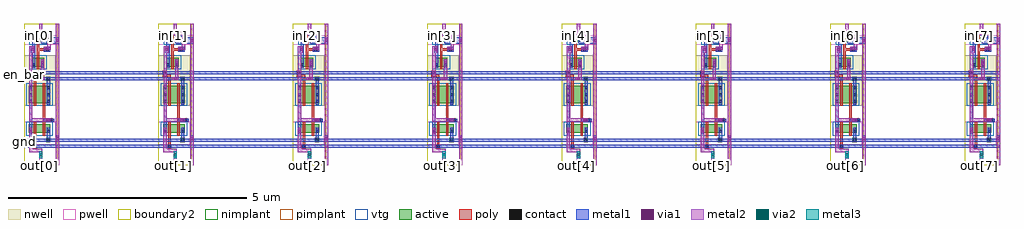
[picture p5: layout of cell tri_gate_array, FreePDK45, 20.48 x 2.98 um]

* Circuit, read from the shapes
.subckt tri_gate_array en en_bar gnd in[0] in[1] in[2] in[3] in[4] in[5] in[6] in[7] out[0] out[1] out[2] out[3] out[4] out[5] out[6] out[7] vdd
M1 n1 en out[0] gnd nfet w=0.18u l=0.05u
M2 gnd in[0] n2 gnd nfet w=0.09u l=0.05u
M3 gnd n2 n1 gnd nfet w=0.18u l=0.05u
M4 n3 en out[1] gnd nfet w=0.18u l=0.05u
M5 gnd in[1] n4 gnd nfet w=0.09u l=0.05u
M6 gnd n4 n3 gnd nfet w=0.18u l=0.05u
M7 n5 en out[2] gnd nfet w=0.18u l=0.05u
M8 gnd in[2] n6 gnd nfet w=0.09u l=0.05u
M9 gnd n6 n5 gnd nfet w=0.18u l=0.05u
M10 n7 en out[3] gnd nfet w=0.18u l=0.05u
M11 gnd in[3] n8 gnd nfet w=0.09u l=0.05u
M12 gnd n8 n7 gnd nfet w=0.18u l=0.05u
M13 n9 en out[4] gnd nfet w=0.18u l=0.05u
M14 gnd in[4] n10 gnd nfet w=0.09u l=0.05u
M15 gnd n10 n9 gnd nfet w=0.18u l=0.05u
M16 n11 en out[5] gnd nfet w=0.18u l=0.05u
M17 gnd in[5] n12 gnd nfet w=0.09u l=0.05u
M18 gnd n12 n11 gnd nfet w=0.18u l=0.05u
M19 n13 en out[6] gnd nfet w=0.18u l=0.05u
M20 gnd in[6] n14 gnd nfet w=0.09u l=0.05u
M21 gnd n14 n13 gnd nfet w=0.18u l=0.05u
M22 n15 en out[7] gnd nfet w=0.18u l=0.05u
M23 gnd in[7] n16 gnd nfet w=0.09u l=0.05u
M24 gnd n16 n15 gnd nfet w=0.18u l=0.05u
M25 n17 en_bar out[0] vdd pfet w=0.36u l=0.05u
M26 vdd in[0] n2 vdd pfet w=0.18u l=0.05u
M27 vdd n2 n17 vdd pfet w=0.36u l=0.05u
M28 n18 en_bar out[1] vdd pfet w=0.36u l=0.05u
M29 vdd in[1] n4 vdd pfet w=0.18u l=0.05u
M30 vdd n4 n18 vdd pfet w=0.36u l=0.05u
M31 n19 en_bar out[2] vdd pfet w=0.36u l=0.05u
M32 vdd in[2] n6 vdd pfet w=0.18u l=0.05u
M33 vdd n6 n19 vdd pfet w=0.36u l=0.05u
M34 n20 en_bar out[3] vdd pfet w=0.36u l=0.05u
M35 vdd in[3] n8 vdd pfet w=0.18u l=0.05u
M36 vdd n8 n20 vdd pfet w=0.36u l=0.05u
M37 n21 en_bar out[4] vdd pfet w=0.36u l=0.05u
M38 vdd in[4] n10 vdd pfet w=0.18u l=0.05u
M39 vdd n10 n21 vdd pfet w=0.36u l=0.05u
M40 n22 en_bar out[5] vdd pfet w=0.36u l=0.05u
M41 vdd in[5] n12 vdd pfet w=0.18u l=0.05u
M42 vdd n12 n22 vdd pfet w=0.36u l=0.05u
M43 n23 en_bar out[6] vdd pfet w=0.36u l=0.05u
M44 vdd in[6] n14 vdd pfet w=0.18u l=0.05u
M45 vdd n14 n23 vdd pfet w=0.36u l=0.05u
M46 n24 en_bar out[7] vdd pfet w=0.36u l=0.05u
M47 vdd in[7] n16 vdd pfet w=0.18u l=0.05u
M48 vdd n16 n24 vdd pfet w=0.36u l=0.05u
.ends

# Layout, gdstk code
import gdstk
lib = gdstk.Library(unit=1e-6, precision=5e-10)
def R(c, l, rs):  # rectangles x0, y0, x1, y1
    for r in rs: c.add(gdstk.rectangle(r[:2], r[2:], *l))
def A(c, l, x, y, w, h, nx, ny, dx, dy):  # array of equal rectangles
    R(c, l, [(x+i*dx, y+j*dy, x+i*dx+w, y+j*dy+h) for i in range(nx) for j in range(ny)])
active = (1, 0)
pwell = (2, 0)
nwell = (3, 0)
nimplant = (4, 0)
pimplant = (5, 0)
vtg = (6, 0)
poly = (9, 0)
contact = (10, 0)
metal1 = (11, 0)
via1 = (12, 0)
metal2 = (13, 0)
via2 = (14, 0)
metal3 = (15, 0)
boundary2 = (239, 0)

m2_m1_0 = lib.new_cell('M2_M1_0')
R(m2_m1_0, metal1, [(-0.0325,-0.0675,0.0325,0.0675)])
R(m2_m1_0, via1, [(-0.0325,-0.0325,0.0325,0.0325)])
R(m2_m1_0, metal2, [(-0.035,-0.0675,0.035,0.0675)])

tri_gate = lib.new_cell('tri_gate')
R(tri_gate, active, [(0.4625,0.485,0.5525,0.575), (0.1025,0.68,0.1775,0.86), (0.1025,0.68,0.1775,0.86), (0.1025,0.68,0.5525,0.86), (0.1025,0.68,0.1775,0.755), (0.255,0.68,0.395,0.86), (0.4775,0.68,0.5525,0.86), (0.4775,0.68,0.5525,0.86), (0.4775,0.68,0.5525,0.755), (0.1025,1.3075,0.1775,1.6675), (0.1025,1.3075,0.1775,1.6675), (0.1025,1.3075,0.5525,1.6675), (0.1025,1.3075,0.1775,1.6625), (0.255,1.3075,0.395,1.6675), (0.4775,1.3075,0.5525,1.6675), (0.4775,1.3075,0.5525,1.6675), (0.4775,1.3075,0.5525,1.6625), (0.4625,1.7725,0.5525,1.8625), (0.165,2.075,0.24,2.255), (0.165,2.075,0.24,2.255), (0.165,2.075,0.24,2.15), (0.165,2.075,0.425,2.255), (0.35,2.075,0.425,2.255), (0.35,2.075,0.425,2.255), (0.35,2.075,0.425,2.15), (0.165,2.59,0.24,2.665), (0.165,2.59,0.24,2.68), (0.165,2.59,0.24,2.68), (0.165,2.59,0.425,2.68), (0.35,2.59,0.425,2.665), (0.35,2.59,0.425,2.68), (0.35,2.59,0.425,2.68), (0.5075,2.59,0.5975,2.68)])
R(tri_gate, pwell, [(0,0.43,0.665,0.915), (0.4075,0.43,0.6075,0.63), (0.0475,0.625,0.6075,0.915), (0,2.535,0.74,2.735), (0.11,2.535,0.48,2.735), (0.4525,2.535,0.6525,2.735)])
R(tri_gate, nwell, [(0,1.2525,0.665,2.31), (0.0475,1.2525,0.6075,1.7225), (0.4075,1.7175,0.6075,1.9175), (0.11,2.02,0.48,2.31)])
R(tri_gate, nimplant, [(0.1025,0.68,0.5525,0.86), (0.4625,1.7725,0.5525,1.8625), (0.165,2.59,0.425,2.68)])
R(tri_gate, pimplant, [(0.4625,0.485,0.5525,0.575), (0.1025,1.3075,0.5525,1.6675), (0.165,2.075,0.425,2.255), (0.5075,2.59,0.5975,2.68)])
R(tri_gate, vtg, [(0.0475,0.625,0.6075,0.915), (0.0475,1.2525,0.6075,1.7225), (0.11,2.02,0.48,2.31), (0.11,2.535,0.48,2.735)])
R(tri_gate, poly, [(0.1925,0.3625,0.2675,0.4375), (0.2075,0.4375,0.2575,0.625), (0.2075,0.625,0.2575,0.68), (0.2075,0.625,0.2575,0.915), (0.3975,0.625,0.4475,0.68), (0.3975,0.625,0.4475,0.915), (0.2075,0.86,0.2575,0.915), (0.3975,0.86,0.4475,0.915), (0.5275,0.9125,0.6025,0.9875), (0.3975,0.915,0.4475,1.2525), (0.4475,0.9375,0.5275,0.9875), (0.2075,1.2525,0.2575,1.7225), (0.2075,1.2525,0.2575,1.3075), (0.3975,1.2525,0.4475,1.7225), (0.3975,1.2525,0.4475,1.3075), (0.2075,1.6675,0.2575,1.7225), (0.3975,1.6675,0.4475,1.7225), (0.2075,1.7225,0.2575,1.91), (0.0875,1.86,0.2075,1.91), (0.0875,1.91,0.1625,1.985), (0.27,2.02,0.32,2.075), (0.27,2.02,0.32,2.31), (0.27,2.255,0.32,2.31), (0.27,2.31,0.32,2.535), (0.4475,2.38,0.5225,2.455), (0.32,2.405,0.5225,2.455), (0.27,2.535,0.32,2.59), (0.27,2.535,0.32,2.735), (0.27,2.68,0.32,2.735)])
A(tri_gate, contact, 0.1075, 1.3125, 0.065, 0.065, 1, 3, 0, 0.14)
A(tri_gate, contact, 0.4825, 1.3125, 0.065, 0.065, 1, 3, 0, 0.14)
R(tri_gate, contact, [(0.1975,0.3675,0.2625,0.4325), (0.475,0.4975,0.54,0.5625), (0.1075,0.685,0.1725,0.75), (0.4825,0.685,0.5475,0.75), (0.5325,0.9175,0.5975,0.9825), (0.475,1.785,0.54,1.85), (0.0925,1.915,0.1575,1.98), (0.17,2.08,0.235,2.145), (0.355,2.08,0.42,2.145), (0.4525,2.385,0.5175,2.45), (0.17,2.595,0.235,2.66), (0.355,2.595,0.42,2.66), (0.52,2.6025,0.585,2.6675)])
R(tri_gate, metal1, [(0,0.3675,0.74,0.4325), (0,0.3675,0.74,0.4325), (0.1625,0.3675,0.2975,0.4325), (0.325,0.3675,0.3825,0.4325), (0,0.4975,0.74,0.5625), (0,0.4975,0.74,0.5625), (0.44,0.4975,0.575,0.5625), (0.6725,0.4975,0.7375,0.6325), (0.4825,0.5625,0.5475,0.65), (0.1075,0.65,0.1725,0.785), (0.4825,0.65,0.5475,0.785), (0.1075,0.7625,0.1725,1.2775), (0.4175,0.9175,0.5525,0.9825), (0.4975,0.9175,0.6325,0.9825), (0.1075,1.2775,0.1725,1.6925), (0.4825,1.2775,0.5475,1.6925), (0.4825,1.6925,0.5475,1.785), (0,1.785,0.74,1.85), (0,1.785,0.74,1.85), (0.1425,1.785,0.2075,1.85), (0.285,1.785,0.42,1.85), (0.44,1.785,0.575,1.85), (0,1.915,0.74,1.98), (0,1.915,0.74,1.98), (0.0575,1.915,0.1925,1.98), (0.2775,1.915,0.34,1.98), (0.17,2.045,0.235,2.18), (0.355,2.045,0.42,2.18), (0.3525,2.09,0.4175,2.225), (0.17,2.175,0.235,2.695), (0.145,2.3675,0.21,2.5025), (0.4175,2.385,0.5525,2.45), (0.4175,2.425,0.5525,2.49), (0.375,2.5575,0.6725,2.6925), (0.6725,2.5575,0.7375,2.6925), (0.17,2.56,0.235,2.695), (0.355,2.56,0.42,2.695), (0.52,2.5675,0.585,2.7025)])
R(tri_gate, via1, [(0.6725,0.5325,0.7375,0.5975), (0.4525,0.9175,0.5175,0.9825), (0.32,1.785,0.385,1.85), (0.3525,2.125,0.4175,2.19), (0.145,2.4025,0.21,2.4675), (0.4525,2.425,0.5175,2.49), (0.6725,2.5925,0.7375,2.6575)])
R(tri_gate, metal2, [(0.3175,0,0.3875,0.35), (0.3175,0,0.3875,0.35), (0.67,0,0.74,2.975), (0.67,0,0.74,2.975), (0.3175,0.1525,0.3875,0.2925), (0.3175,0.155,0.3875,0.2175), (0.105,0.28,0.175,0.65), (0.105,0.28,0.3175,0.35), (0.67,0.4975,0.74,0.6325), (0.67,0.5725,0.74,0.63), (0.1075,0.915,0.1775,2.5025), (0.1775,0.915,0.4175,0.985), (0.4175,0.915,0.5525,0.985), (0.285,1.7825,0.42,1.8525), (0.35,1.8525,0.42,2.09), (0.35,2.09,0.42,2.225), (0.1425,2.3675,0.2125,2.5025), (0.4175,2.4225,0.5525,2.4925), (0.49,2.4225,0.56,2.805), (0.67,2.5575,0.74,2.6925), (0.3175,2.735,0.3875,2.975), (0.3175,2.735,0.3875,2.975), (0.3875,2.735,0.49,2.805), (0.3175,2.9175,0.3875,2.97)])
R(tri_gate, via2, [(0.3175,0.1875,0.3875,0.2575)])
R(tri_gate, metal3, [(0.3175,0.1525,0.3875,0.2925)])
R(tri_gate, boundary2, [(0,0,0.705,2.975)])
tri_gate.add(gdstk.Reference(m2_m1_0, (0.14,0.7175)))
tri_gate.add(gdstk.Label('gnd', (0.695,0.605), layer=13, texttype=0))
tri_gate.add(gdstk.Label('in', (0.35,2.945), layer=13, texttype=0))
tri_gate.add(gdstk.Label('out', (0.3525,0.1775), layer=13, texttype=0))
tri_gate.add(gdstk.Label('gnd', (0.2975,0.5475), layer=11, texttype=0))
tri_gate.add(gdstk.Label('vdd', (0.1775,1.8225), layer=11, texttype=0))
tri_gate.add(gdstk.Label('en_bar', (0.3075,1.95), layer=11, texttype=0))
tri_gate.add(gdstk.Label('en', (0.3525,0.395), layer=11, texttype=0))
tri_gate.add(gdstk.Label('en', (0,0.3675), layer=11, texttype=0))
tri_gate.add(gdstk.Label('vdd', (0,1.785), layer=11, texttype=0))
tri_gate.add(gdstk.Label('gnd', (0.67,0), layer=13, texttype=0))
tri_gate.add(gdstk.Label('gnd', (0,0.4975), layer=11, texttype=0))
tri_gate.add(gdstk.Label('in', (0.3175,2.735), layer=13, texttype=0))
tri_gate.add(gdstk.Label('en_bar', (0,1.915), layer=11, texttype=0))
tri_gate.add(gdstk.Label('out', (0.3175,0), layer=13, texttype=0))

tri_gate_array = lib.new_cell('tri_gate_array')
R(tri_gate_array, metal1, [(0,0.3675,20.445,0.4325), (0,0.3675,20.445,0.4325), (0,0.4975,20.445,0.5625), (0,0.4975,20.445,0.5625), (0,1.785,20.445,1.85), (0,1.785,20.445,1.85), (0,1.915,20.445,1.98), (0,1.915,20.445,1.98)])
R(tri_gate_array, metal2, [(0.3175,0,0.3875,0.35), (0.3175,0,0.3875,0.35), (3.1375,0,3.2075,0.35), (3.1375,0,3.2075,0.35), (5.9575,0,6.0275,0.35), (5.9575,0,6.0275,0.35), (8.7775,0,8.8475,0.35), (8.7775,0,8.8475,0.35), (11.5975,0,11.6675,0.35), (11.5975,0,11.6675,0.35), (14.4175,0,14.4875,0.35), (14.4175,0,14.4875,0.35), (17.2375,0,17.3075,0.35), (17.2375,0,17.3075,0.35), (20.0575,0,20.1275,0.35), (20.0575,0,20.1275,0.35), (0.3175,2.735,0.3875,2.975), (0.3175,2.735,0.3875,2.975), (3.1375,2.735,3.2075,2.975), (3.1375,2.735,3.2075,2.975), (5.9575,2.735,6.0275,2.975), (5.9575,2.735,6.0275,2.975), (8.7775,2.735,8.8475,2.975), (8.7775,2.735,8.8475,2.975), (11.5975,2.735,11.6675,2.975), (11.5975,2.735,11.6675,2.975), (14.4175,2.735,14.4875,2.975), (14.4175,2.735,14.4875,2.975), (17.2375,2.735,17.3075,2.975), (17.2375,2.735,17.3075,2.975), (20.0575,2.735,20.1275,2.975), (20.0575,2.735,20.1275,2.975)])
tri_gate_array.add(gdstk.Reference(tri_gate, (0,0)))
tri_gate_array.add(gdstk.Reference(tri_gate, (2.82,0)))
tri_gate_array.add(gdstk.Reference(tri_gate, (5.64,0)))
tri_gate_array.add(gdstk.Reference(tri_gate, (8.46,0)))
tri_gate_array.add(gdstk.Reference(tri_gate, (11.28,0)))
tri_gate_array.add(gdstk.Reference(tri_gate, (14.1,0)))
tri_gate_array.add(gdstk.Reference(tri_gate, (16.92,0)))
tri_gate_array.add(gdstk.Reference(tri_gate, (19.74,0)))
tri_gate_array.add(gdstk.Reference(tri_gate, (0,0)))
tri_gate_array.add(gdstk.Reference(tri_gate, (2.82,0)))
tri_gate_array.add(gdstk.Reference(tri_gate, (5.64,0)))
tri_gate_array.add(gdstk.Reference(tri_gate, (8.46,0)))
tri_gate_array.add(gdstk.Reference(tri_gate, (11.28,0)))
tri_gate_array.add(gdstk.Reference(tri_gate, (14.1,0)))
tri_gate_array.add(gdstk.Reference(tri_gate, (16.92,0)))
tri_gate_array.add(gdstk.Reference(tri_gate, (19.74,0)))
tri_gate_array.add(gdstk.Label('gnd', (0,0.4975), layer=11, texttype=0))
tri_gate_array.add(gdstk.Label('out[3]', (8.7775,0), layer=13, texttype=0))
tri_gate_array.add(gdstk.Label('in[2]', (5.9575,2.735), layer=13, texttype=0))
tri_gate_array.add(gdstk.Label('out[4]', (11.5975,0), layer=13, texttype=0))
tri_gate_array.add(gdstk.Label('in[3]', (8.7775,2.735), layer=13, texttype=0))
tri_gate_array.add(gdstk.Label('out[2]', (5.9575,0), layer=13, texttype=0))
tri_gate_array.add(gdstk.Label('in[0]', (0.3175,2.735), layer=13, texttype=0))
tri_gate_array.add(gdstk.Label('out[6]', (17.2375,0), layer=13, texttype=0))
tri_gate_array.add(gdstk.Label('out[0]', (0.3175,0), layer=13, texttype=0))
tri_gate_array.add(gdstk.Label('out[1]', (3.1375,0), layer=13, texttype=0))
tri_gate_array.add(gdstk.Label('in[4]', (11.5975,2.735), layer=13, texttype=0))
tri_gate_array.add(gdstk.Label('out[5]', (14.4175,0), layer=13, texttype=0))
tri_gate_array.add(gdstk.Label('in[5]', (14.4175,2.735), layer=13, texttype=0))
tri_gate_array.add(gdstk.Label('en', (0,0.3675), layer=11, texttype=0))
tri_gate_array.add(gdstk.Label('out[7]', (20.0575,0), layer=13, texttype=0))
tri_gate_array.add(gdstk.Label('in[6]', (17.2375,2.735), layer=13, texttype=0))
tri_gate_array.add(gdstk.Label('in[7]', (20.0575,2.735), layer=13, texttype=0))
tri_gate_array.add(gdstk.Label('in[1]', (3.1375,2.735), layer=13, texttype=0))
tri_gate_array.add(gdstk.Label('en_bar', (0,1.915), layer=11, texttype=0))
tri_gate_array.add(gdstk.Label('vdd', (0,1.785), layer=11, texttype=0))
tri_gate_array.add(gdstk.Label('gnd', (0,0.4975), layer=11, texttype=0))
tri_gate_array.add(gdstk.Label('out[3]', (8.7775,0), layer=13, texttype=0))
tri_gate_array.add(gdstk.Label('in[2]', (5.9575,2.735), layer=13, texttype=0))
tri_gate_array.add(gdstk.Label('out[4]', (11.5975,0), layer=13, texttype=0))
tri_gate_array.add(gdstk.Label('in[3]', (8.7775,2.735), layer=13, texttype=0))
tri_gate_array.add(gdstk.Label('out[2]', (5.9575,0), layer=13, texttype=0))
tri_gate_array.add(gdstk.Label('in[0]', (0.3175,2.735), layer=13, texttype=0))
tri_gate_array.add(gdstk.Label('out[6]', (17.2375,0), layer=13, texttype=0))
tri_gate_array.add(gdstk.Label('out[0]', (0.3175,0), layer=13, texttype=0))
tri_gate_array.add(gdstk.Label('out[1]', (3.1375,0), layer=13, texttype=0))
tri_gate_array.add(gdstk.Label('in[4]', (11.5975,2.735), layer=13, texttype=0))
tri_gate_array.add(gdstk.Label('out[5]', (14.4175,0), layer=13, texttype=0))
tri_gate_array.add(gdstk.Label('in[5]', (14.4175,2.735), layer=13, texttype=0))
tri_gate_array.add(gdstk.Label('en', (0,0.3675), layer=11, texttype=0))
tri_gate_array.add(gdstk.Label('out[7]', (20.0575,0), layer=13, texttype=0))
tri_gate_array.add(gdstk.Label('in[6]', (17.2375,2.735), layer=13, texttype=0))
tri_gate_array.add(gdstk.Label('in[7]', (20.0575,2.735), layer=13, texttype=0))
tri_gate_array.add(gdstk.Label('in[1]', (3.1375,2.735), layer=13, texttype=0))
tri_gate_array.add(gdstk.Label('en_bar', (0,1.915), layer=11, texttype=0))
tri_gate_array.add(gdstk.Label('vdd', (0,1.785), layer=11, texttype=0))

lib.write_gds('tri_gate_array.gds')
